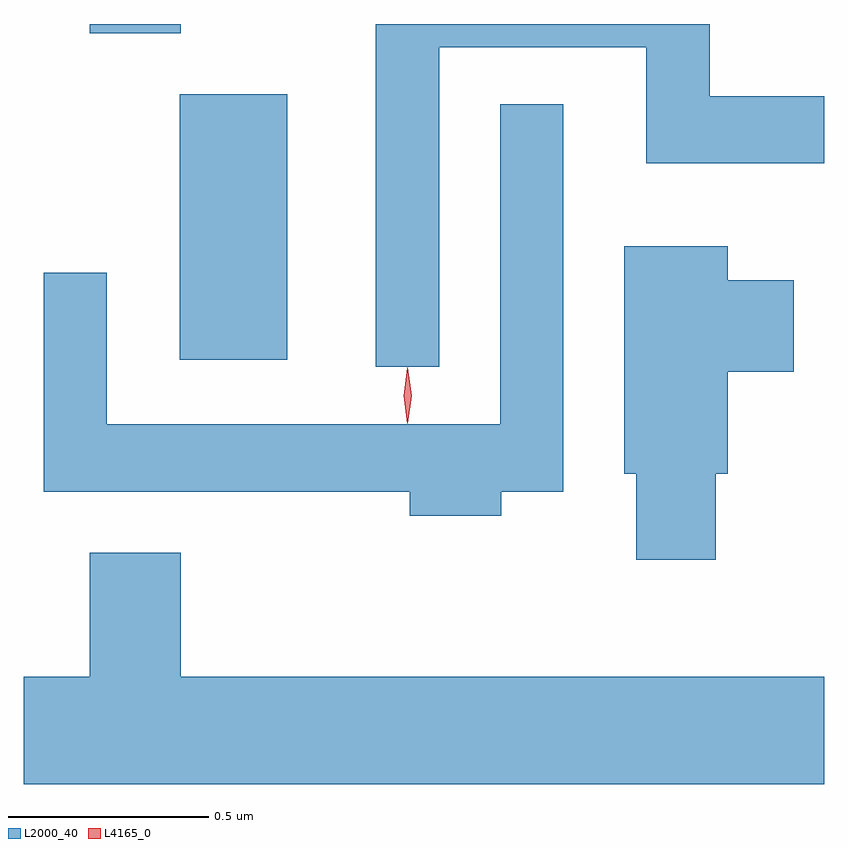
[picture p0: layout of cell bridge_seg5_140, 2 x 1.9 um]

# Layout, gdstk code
import gdstk
lib = gdstk.Library(unit=1e-6, precision=1e-09)
def R(c, l, rs):  # rectangles x0, y0, x1, y1
    for r in rs: c.add(gdstk.rectangle(r[:2], r[2:], *l))
def P(c, l, *ps):  # polygons
    for p in ps: c.add(gdstk.Polygon(p, *l))
L2000_40 = (2000, 40)
L4165_0 = (4165, 0)

bridge_seg5_140 = lib.new_cell('bridge_seg5_140')
R(bridge_seg5_140, L2000_40, [(1216.856,1420.116,1217.124,1420.779), (1216.631,1420.931,1216.859,1420.954)])
P(bridge_seg5_140, L2000_40, [(1217.504,1420.896),(1218.021,1420.896),(1218.021,1420.606),(1218.466,1420.606),(1218.466,1420.774),(1218.179,1420.774),(1218.179,1420.954),(1217.346,1420.954),(1217.346,1420.098),(1217.504,1420.098)],
  [(1217.659,1419.786),(1217.814,1419.786),(1217.814,1420.753),(1217.656,1420.753),(1217.656,1419.954),(1216.674,1419.954),(1216.674,1420.333),(1216.516,1420.333),(1216.516,1419.786),(1217.431,1419.786),(1217.431,1419.726),(1217.659,1419.726)],
  [(1218.194,1419.831),(1218.224,1419.831),(1218.224,1420.086),(1218.389,1420.086),(1218.389,1420.314),(1218.224,1420.314),(1218.224,1420.399),(1217.966,1420.399),(1217.966,1419.831),(1217.996,1419.831),(1217.996,1419.616),(1218.194,1419.616)],
  [(1218.466,1419.324),(1216.859,1419.324),(1216.859,1419.634),(1216.631,1419.634),(1216.631,1419.324),(1216.466,1419.324),(1216.466,1419.056),(1218.466,1419.056)])
P(bridge_seg5_140, L4165_0, [(1217.425,1419.959),(1217.424,1419.96),(1217.415,1420.026),(1217.424,1420.092),(1217.425,1420.093),(1217.425,1420.092),(1217.435,1420.026),(1217.425,1419.96)],
  [(1217.424,1419.957),(1217.415,1420.026),(1217.424,1420.096),(1217.425,1420.096),(1217.426,1420.096),(1217.435,1420.026),(1217.426,1419.957),(1217.425,1419.957)])

lib.write_gds('bridge_seg5_140.gds')
